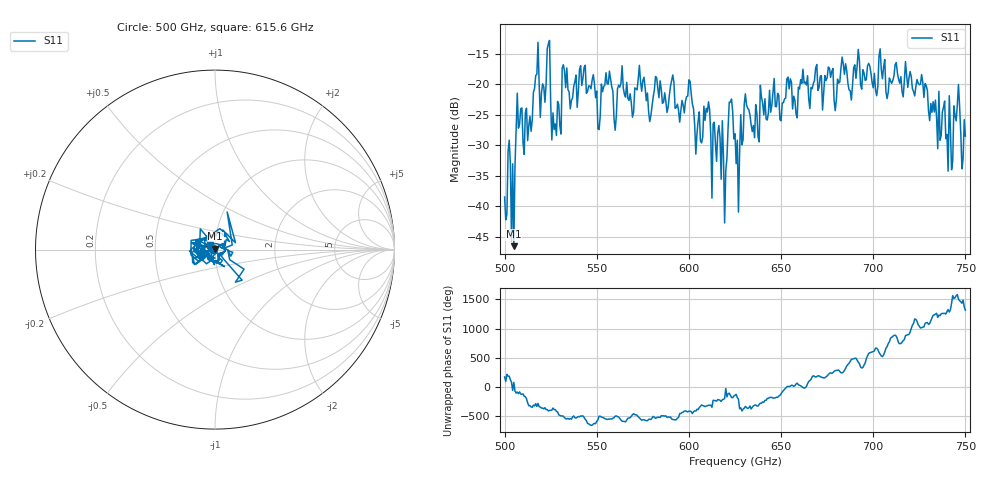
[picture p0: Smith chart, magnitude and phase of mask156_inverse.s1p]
!Created with skrf (http://scikit-rf.org).
# GHz S MA R 50.0
!freq magS11 angS11
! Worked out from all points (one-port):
!   401 points, 500 GHz to 750 GHz, reference 50 ohm
!   lowest |S11| = -46.6 dB at 505 GHz (marker M1), VSWR 1.01, Z = 50.1 + j0.453 ohm
!   |S11| at or under -10 dB: start of sweep to end of sweep
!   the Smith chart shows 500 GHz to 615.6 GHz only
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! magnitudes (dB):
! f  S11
! 500 GHz  -38.5
! 505 GHz  -46.6
! 507.5 GHz  -27.2
! 513.8 GHz  -25.3
! 516.9 GHz  -18.6
! 520.6 GHz  -20.0
! 523.8 GHz  -13.4
! 526.9 GHz  -27.5
! 531.2 GHz  -17.4
! 542.5 GHz  -19.1
! 550.6 GHz  -27.3
! 562.5 GHz  -20.5
! 593.8 GHz  -23.3
! 610 GHz  -24.6
! 618.8 GHz  -32.0
! 622.5 GHz  -22.9
! 625 GHz  -28.2
! 628.1 GHz  -25.0
! 631.2 GHz  -23.4
! 636.9 GHz  -24.8
! 656.2 GHz  -24.1
! 680 GHz  -22.6
! 683.8 GHz  -16.7
! 687.5 GHz  -21.1
! 718.8 GHz  -20.5
! 741.9 GHz  -27.5
! 745 GHz  -26.0
! 750 GHz  -28.5
